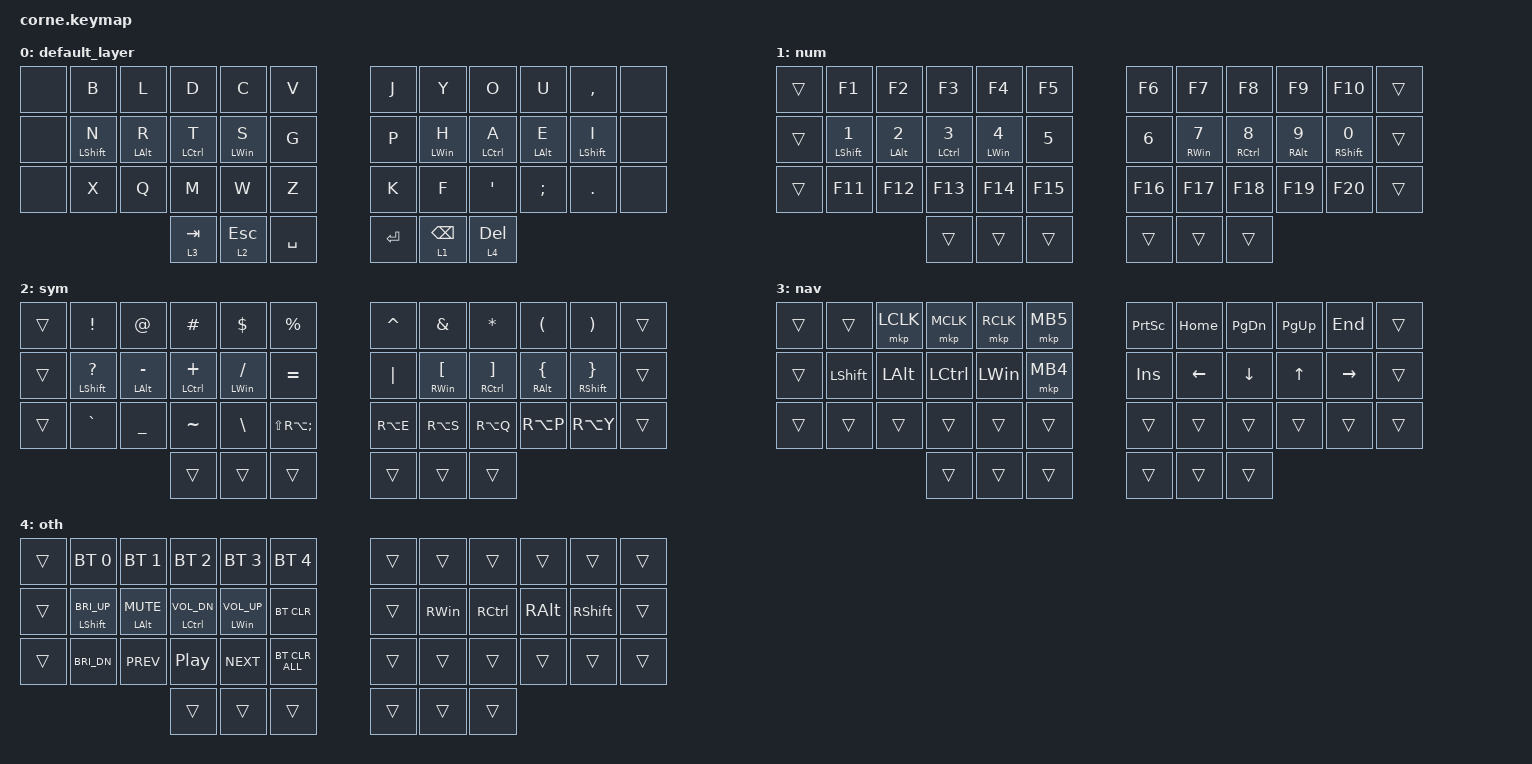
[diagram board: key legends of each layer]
/*
 * Copyright (c) 2020 The ZMK Contributors
 *
 * SPDX-License-Identifier: MIT
 */
/* * LAYER 0: DEFAULT
 * ┌─────────────────────────────┐ ┌─────────────────────────────┐
 * │  B  │  L  │  D  │  C  │  V  │ |  J  │  Y  │  O  │  U  │  ,  │
 * │SFT/N│ALT/R│CTL/T│WIN/S│  G  │ |  P  │WIN/H│CTL/A│ALT/E│SFT/I│
 * │  X  │  Q  │  M  │  W  │  Z  │ |  K  │  F  │  '  │  ;  │  .  │
 * └──────────┐ TAB/3│ESC/2│ SPC │ │ RET │BSP/1│DEL/4│  ┌────────┘
 *            └──────────────────┘ └────────────────────┘
 *
 * LAYER 1: NUM
 * ┌─────────────────────────────┐ ┌─────────────────────────────┐
 * │  F1 │  F2 │  F3 │  F4 │  F5 │ │  F6 │  F7 │  F8 │  F9 │ F10 │
 * │SFT/1│ALT/2│CTL/3│WIN/4│  5  │ │  6  │WIN/7│CTL/8│ALT/9│SFT/0│
 * │ F11 │ F12 │ F13 │ F14 │ F15 │ │ F16 │ F17 │ F18 │ F19 │ F20 │
 * └──────────┐      │     │     │ │     │     │     │┌──────────┘
 *            └──────────────────┘ └──────────────────┘
 *
 * LAYER 2: SYM
 * ┌─────────────────────────────┐ ┌─────────────────────────────┐
 * │  !  │  @  │  #  │  $  │  %  │ │  ^  │  &  │  *  │  (  │  )  │
 * │SFT/?│ALT/-│CTL/+│WIN//│  =  │ │  |  │WIN/[│CTL/]│ALT/{│SFT/}│
 * │  `  │  _  │  ~  │  \  │  °  │ │  €  │  ß  │  ä  │  ö  │  ü  │
 * └──────────┐      │     │     │ │ SFT │     │     │┌──────────┘
 *            └──────────────────┘ └──────────────────┘
 *
 * LAYER 3: NAV
 * ┌─────────────────────────────┐ ┌─────────────────────────────┐
 * │     │ LCLK│ MCLK│ RCLK│ MB5 │ │ PSC │ HOME│ PGDN│ PGUP│ END │
 * │ SFT │ ALT │ CTL │ WIN │ MB4 │ │ INS │WIN/L│CTL/D│ALT/U│SFT/R│
 * │     │     │     │     │     │ │     │     │     │     │     │
 * └──────────┐      │     │     │ │     │     │     │┌──────────┘
 *            └──────────────────┘ └──────────────────┘
 *
 * LAYER 4: OTH
 * ┌────────────────────────────────┐ ┌─────────────────────────────┐
 * │ BT0  │ BT1 │  BT2 │  BT3 │ BT4 │ │     │     │     │     │     │
 * │SFT/B+│ALT/M│CTL/V-│WIN/V+│ BTCL│ │     │ WIN │ CTL │ ALT │ SFT │
 * │  BR- │ PREV │ PLAY│ NEXT │ BTCA│ │     │     │     │     │     │
 * └─────────────┐     │      │     │ │     │     │     │┌──────────┘
 *               └──────────────────┘ └──────────────────┘
 */

#include <behaviors.dtsi>
#include <dt-bindings/zmk/bt.h>
#include <dt-bindings/zmk/keys.h>
#include <dt-bindings/zmk/pointing.h>

#define UC_AE RA(Q)
#define UC_OE RA(P)
#define UC_UE RA(Y)
#define UC_SS RA(S)
#define UC_SECT LS(RA(S))
#define UC_DEG  LS(RA(SEMI))
#define UC_EURO RA(E)

/ {
    behaviors {
        mt: mod_tap {
            compatible = "zmk,behavior-hold-tap";
            #binding-cells = <2>;
            flavor = "tap-preferred";
            tapping-term-ms = <180>;
            bindings = <&kp>, <&kp>;
            display-name = "Mod-Tap";
        };

        lt: layer_tap {
            compatible = "zmk,behavior-hold-tap";
            #binding-cells = <2>;
            flavor = "tap-preferred";
            tapping-term-ms = <180>;
            bindings = <&mo>, <&kp>;
            display-name = "Layer-Tap";
        };
    };

    keymap {
        compatible = "zmk,keymap";

        default_layer {
            bindings = <
&none  &kp B             &kp L           &kp D        &kp C           &kp V        &kp J    &kp Y           &kp O         &kp U           &kp COMMA         &none
&none  &mt LEFT_SHIFT N  &mt LEFT_ALT R  &mt LCTRL T  &mt LEFT_WIN S  &kp G        &kp P    &mt LEFT_WIN H  &mt LCTRL A   &mt LEFT_ALT E  &mt LEFT_SHIFT I  &none
&none  &kp X             &kp Q           &kp M        &kp W           &kp Z        &kp K    &kp F           &kp SQT       &kp SEMICOLON   &kp PERIOD        &none
                                         &lt 3 TAB    &lt 2 ESCAPE    &kp SPACE    &kp RET  &lt 1 BACKSPACE  &lt 4 DELETE
            >;
        };

        num {
            bindings = <
&trans  &kp F1         &kp F2       &kp F3        &kp F4       &kp F5     &kp F6   &kp F7       &kp F8        &kp F9       &kp F10        &trans
&trans  &mt LSHIFT N1  &mt LALT N2  &mt LCTRL N3  &mt LWIN N4  &kp N5     &kp N6   &mt RWIN N7  &mt RCTRL N8  &mt RALT N9  &mt RSHIFT N0  &trans
&trans  &kp F11        &kp F12      &kp F13       &kp F14      &kp F15    &kp F16  &kp F17      &kp F18       &kp F19      &kp F20        &trans
                                    &trans        &trans       &trans     &trans   &trans       &trans
            >;
        };

        sym {
            bindings = <
&trans  &kp EXCL          &kp AT          &kp HASH        &kp DLLR        &kp PRCNT     &kp CARET    &kp AMPS       &kp ASTRK       &kp LPAR       &kp RPAR         &trans
&trans  &mt LSHIFT QMARK  &mt LALT MINUS  &mt LCTRL PLUS  &mt LWIN SLASH  &kp EQUAL     &kp PIPE     &mt RWIN LBKT  &mt RCTRL RBKT  &mt RALT LBRC  &mt RSHIFT RBRC  &trans
&trans  &kp GRAVE         &kp UNDER       &kp TILDE       &kp BSLH        &kp UC_DEG    &kp UC_EURO  &kp UC_SS      &kp UC_AE       &kp UC_OE      &kp UC_UE        &trans
                                          &trans          &trans          &trans        &trans       &trans         &trans
            >;
        };

        nav {
            bindings = <
&trans  &trans          &mkp LCLK     &mkp MCLK  &mkp RCLK     &mkp MB5    &kp PRINTSCREEN  &kp HOME           &kp PAGE_DOWN    &kp PAGE_UP     &kp END               &trans
&trans  &kp LEFT_SHIFT  &kp LEFT_ALT  &kp LCTRL  &kp LEFT_WIN  &mkp MB4    &kp INSERT       &kp LEFT           &kp DOWN         &kp UP          &kp RIGHT             &trans
&trans  &trans          &trans        &trans     &trans        &trans      &trans           &trans             &trans           &trans          &trans                &trans
                                      &trans     &trans        &trans      &trans           &trans             &trans
            >;
        };

        oth {
            bindings = <
&trans  &bt BT_SEL 0         &bt BT_SEL 1     &bt BT_SEL 2        &bt BT_SEL 3       &bt BT_SEL 4      &trans  &trans    &trans     &trans    &trans      &trans
&trans  &mt LSHIFT C_BRI_UP  &mt LALT K_MUTE  &mt LCTRL C_VOL_DN  &mt LWIN C_VOL_UP  &bt BT_CLR        &trans  &kp RWIN  &kp RCTRL  &kp RALT  &kp RSHIFT  &trans
&trans  &kp C_BRI_DN         &kp C_PREV       &kp C_PP            &kp C_NEXT         &bt BT_CLR_ALL    &trans  &trans    &trans     &trans    &trans      &trans
                                              &trans              &trans             &trans            &trans  &trans    &trans
            >;
        };
    };
};
